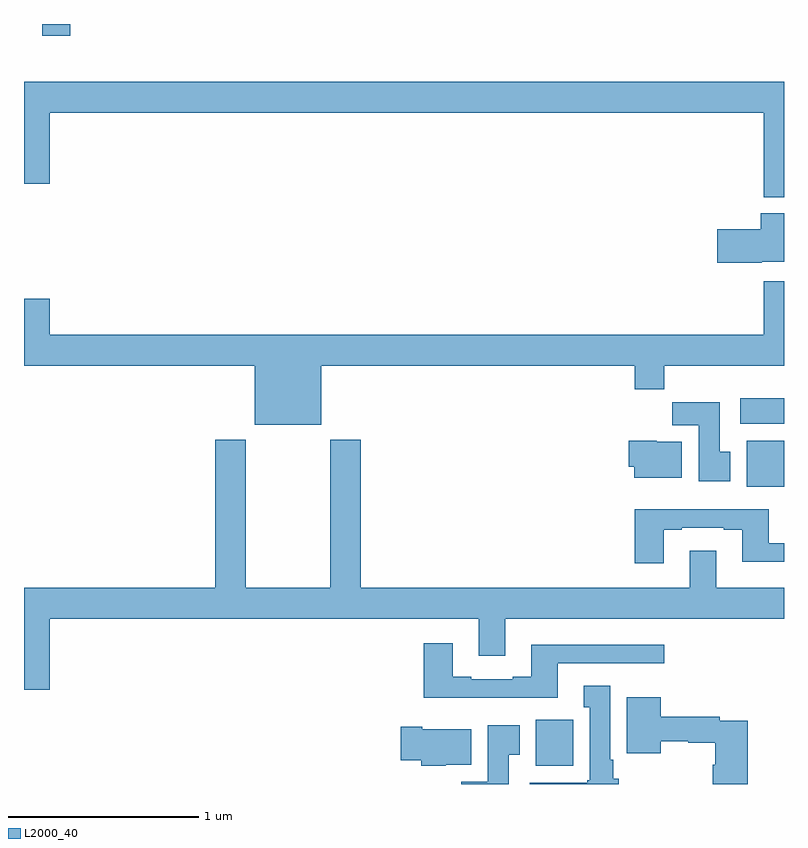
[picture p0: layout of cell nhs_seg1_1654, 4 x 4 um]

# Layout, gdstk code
import gdstk
lib = gdstk.Library(unit=1e-6, precision=1e-09)
def R(c, l, rs):  # rectangles x0, y0, x1, y1
    for r in rs: c.add(gdstk.rectangle(r[:2], r[2:], *l))
def P(c, l, *ps):  # polygons
    for p in ps: c.add(gdstk.Polygon(p, *l))
L2000_40 = (2000, 40)

nhs_seg1_1654 = lib.new_cell('nhs_seg1_1654')
R(nhs_seg1_1654, L2000_40, [(203.693,548.294,203.89,548.536), (204.803,549.764,205,550.006), (204.771,550.094,205,550.228), (201.095,552.138,201.244,552.199)])
P(nhs_seg1_1654, L2000_40, [(205,551.896),(201,551.896),(201,551.358),(201.136,551.358),(201.136,551.732),(204.894,551.732),(204.894,551.288),(205,551.288)],
  [(204.882,550.949),(205,550.949),(205,551.203),(204.878,551.203),(204.878,551.12),(204.648,551.12),(204.648,550.942),(204.882,550.942)],
  [(202.564,550.4),(204.215,550.4),(204.215,550.276),(204.371,550.276),(204.371,550.4),(205,550.4),(205,550.846),(204.894,550.846),(204.894,550.564),(201.136,550.564),(201.136,550.753),(201,550.753),(201,550.4),(202.214,550.4),(202.214,550.091),(202.564,550.091)],
  [(204.718,549.948),(204.661,549.948),(204.661,550.207),(204.412,550.207),(204.412,550.088),(204.551,550.088),(204.551,549.792),(204.718,549.792)],
  [(201.136,549.068),(203.393,549.068),(203.393,548.874),(203.533,548.874),(203.533,549.068),(205,549.068),(205,549.232),(204.643,549.232),(204.643,549.427),(204.503,549.427),(204.503,549.232),(202.772,549.232),(202.772,550.012),(202.612,550.012),(202.612,549.232),(202.167,549.232),(202.167,550.012),(202.007,550.012),(202.007,549.232),(201,549.232),(201,548.694),(201.136,548.694)],
  [(204.463,550),(204.33,550),(204.33,550.006),(204.182,550.006),(204.182,549.87),(204.212,549.87),(204.212,549.812),(204.463,549.812)],
  [(204.367,549.537),(204.463,549.537),(204.463,549.549),(204.683,549.549),(204.683,549.537),(204.779,549.537),(204.779,549.368),(205,549.368),(205,549.465),(204.919,549.465),(204.919,549.646),(204.215,549.646),(204.215,549.36),(204.367,549.36)],
  [(203.809,548.835),(204.37,548.835),(204.37,548.932),(203.669,548.932),(203.669,548.764),(203.573,548.764),(203.573,548.751),(203.353,548.751),(203.353,548.764),(203.257,548.764),(203.257,548.941),(203.105,548.941),(203.105,548.654),(203.809,548.654)],
  [(204.13,548.226),(204.1,548.226),(204.1,548.326),(204.085,548.326),(204.085,548.716),(203.945,548.716),(203.945,548.603),(203.978,548.603),(203.978,548.22),(203.965,548.22),(203.965,548.206),(203.661,548.206),(203.661,548.199),(204.13,548.199)],
  [(204.809,548.532),(204.662,548.532),(204.662,548.552),(204.352,548.552),(204.352,548.656),(204.173,548.656),(204.173,548.36),(204.352,548.36),(204.352,548.424),(204.495,548.424),(204.495,548.416),(204.638,548.416),(204.638,548.301),(204.626,548.301),(204.626,548.199),(204.809,548.199)],
  [(203.551,548.353),(203.608,548.353),(203.608,548.509),(203.441,548.509),(203.441,548.212),(203.302,548.212),(203.302,548.199),(203.551,548.199)],
  [(203.22,548.3),(203.353,548.3),(203.353,548.488),(203.095,548.488),(203.095,548.501),(202.983,548.501),(202.983,548.323),(203.09,548.323),(203.09,548.294),(203.22,548.294)])

lib.write_gds('nhs_seg1_1654.gds')
